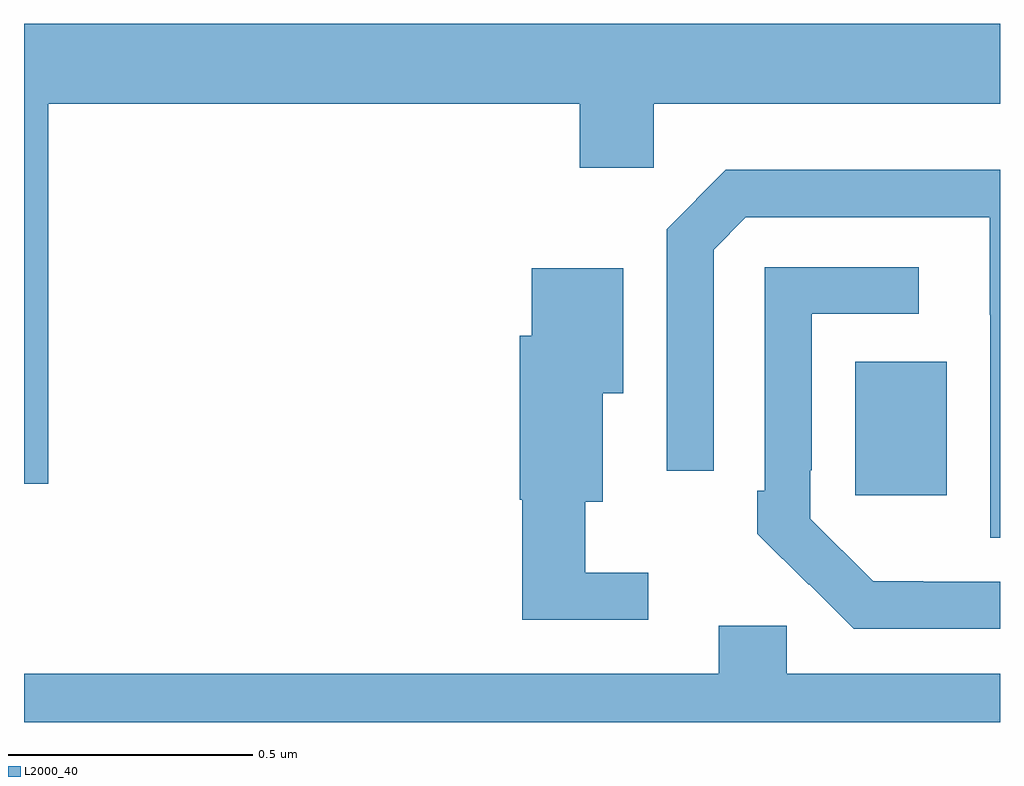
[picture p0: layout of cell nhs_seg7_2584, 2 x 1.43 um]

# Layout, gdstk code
import gdstk
lib = gdstk.Library(unit=1e-6, precision=1e-09)
def R(c, l, rs):  # rectangles x0, y0, x1, y1
    for r in rs: c.add(gdstk.rectangle(r[:2], r[2:], *l))
def P(c, l, *ps):  # polygons
    for p in ps: c.add(gdstk.Polygon(p, *l))
L2000_40 = (2000, 40)

nhs_seg7_2584 = lib.new_cell('nhs_seg7_2584')
R(nhs_seg7_2584, L2000_40, [(148.703,1014.465,148.891,1014.739)])
P(nhs_seg7_2584, L2000_40, [(147.05,1015.268),(148.139,1015.268),(148.139,1015.137),(148.29,1015.137),(148.29,1015.268),(149,1015.268),(149,1015.432),(147,1015.432),(147,1014.489),(147.05,1014.489)],
  [(149,1015.132),(148.438,1015.132),(148.317,1015.011),(148.317,1014.516),(148.413,1014.516),(148.413,1014.969),(148.479,1015.035),(148.979,1015.035),(148.979,1014.835),(148.98,1014.835),(148.98,1014.378),(149,1014.378)],
  [(149,1014.288),(148.843,1014.288),(148.843,1014.289),(148.74,1014.289),(148.611,1014.417),(148.611,1014.517),(148.614,1014.517),(148.614,1014.837),(148.834,1014.837),(148.834,1014.933),(148.518,1014.933),(148.518,1014.475),(148.503,1014.475),(148.503,1014.387),(148.608,1014.282),(148.609,1014.283),(148.7,1014.192),(149,1014.192)],
  [(148.279,1014.307),(148.15,1014.307),(148.15,1014.452),(148.186,1014.452),(148.186,1014.674),(148.228,1014.674),(148.228,1014.931),(148.04,1014.931),(148.04,1014.792),(148.016,1014.792),(148.016,1014.456),(148.021,1014.456),(148.021,1014.21),(148.279,1014.21)],
  [(149,1014.1),(148.563,1014.1),(148.563,1014.198),(148.424,1014.198),(148.424,1014.1),(147,1014.1),(147,1014),(149,1014)])

lib.write_gds('nhs_seg7_2584.gds')
